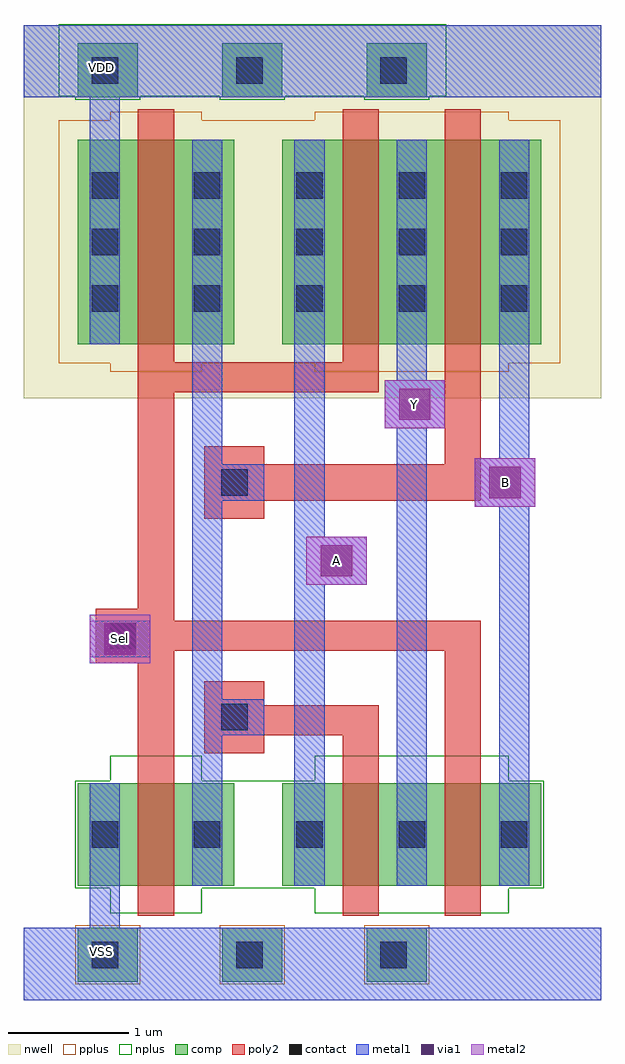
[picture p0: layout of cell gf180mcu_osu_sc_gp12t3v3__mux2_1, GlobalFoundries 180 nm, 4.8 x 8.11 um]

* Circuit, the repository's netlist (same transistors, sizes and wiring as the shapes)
* Copyright 2022 Google LLC
*
* Licensed under the Apache License, Version 2.0 (the "License");
* you may not use this file except in compliance with the License.
* You may obtain a copy of the License at
*
*      http://www.apache.org/licenses/LICENSE-2.0
*
* Unless required by applicable law or agreed to in writing, software
* distributed under the License is distributed on an "AS IS" BASIS,
* WITHOUT WARRANTIES OR CONDITIONS OF ANY KIND, either express or implied.
* See the License for the specific language governing permissions and
* limitations under the License.

.inc "/import/yukari1/lrburle/OSU_180/char/techfiles/design.hspice"
.lib "/import/yukari1/lrburle/OSU_180/char/techfiles/sm141064.hspice" typical

.GLOBAL VDD
.GLOBAL VSS

.option scale=0.05u

.subckt gf180mcu_osu_sc_gp12t3v3__mux2_1 Y Sel A B
X0 B a_25_19 Y VDD pmos_3p3 w=34 l=6
X1 Y Sel A VDD pmos_3p3 w=34 l=6
X2 a_25_19 Sel VDD VDD pmos_3p3 w=34 l=6
X3 Y a_25_19 A VSS nmos_3p3 w=17 l=6
X4 a_25_19 Sel VSS VSS nmos_3p3 w=17 l=6
X5 B Sel Y VSS nmos_3p3 w=17 l=6
.ends

** hspice subcircuit dictionary

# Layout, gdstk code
import gdstk
lib = gdstk.Library(unit=1e-6, precision=1e-09)
def R(c, l, rs):  # rectangles x0, y0, x1, y1
    for r in rs: c.add(gdstk.rectangle(r[:2], r[2:], *l))
def A(c, l, x, y, w, h, nx, ny, dx, dy):  # array of equal rectangles
    R(c, l, [(x+i*dx, y+j*dy, x+i*dx+w, y+j*dy+h) for i in range(nx) for j in range(ny)])
nwell = (21, 0)
comp = (22, 0)
poly2 = (30, 0)
pplus = (31, 0)
nplus = (32, 0)
contact = (33, 0)
metal1 = (34, 0)
via1 = (35, 0)
metal2 = (36, 0)

gf180mcu_osu_sc_gp12t3v3 = lib.new_cell('gf180mcu_osu_sc_gp12t3v3__mux2_1')
R(gf180mcu_osu_sc_gp12t3v3, nwell, [(0,5,4.8,8.1)])
A(gf180mcu_osu_sc_gp12t3v3, comp, 0.45, 0.15, 0.5, 0.45, 3, 2, 1.2, 7.35)
R(gf180mcu_osu_sc_gp12t3v3, comp, [(0.45,0.95,1.75,1.8), (2.15,0.95,4.3,1.8), (0.45,5.45,1.75,7.15), (2.15,5.45,4.3,7.15)])
R(gf180mcu_osu_sc_gp12t3v3, poly2, [(0.95,0.7,1.25,2.8), (2.65,0.7,2.95,2.2), (3.5,0.7,3.8,2.9), (1.5,2.05,2,2.2), (1.5,2.2,2.95,2.45), (1.5,2.45,2,2.65), (0.6,2.8,1.25,2.9), (0.6,2.9,3.8,3.15), (0.6,3.15,1.25,3.25), (0.95,3.25,1.25,5.05), (1.5,4,2,4.15), (1.5,4.15,3.8,4.45), (1.5,4.45,2,4.6), (3.5,4.45,3.8,7.4), (0.95,5.05,2.95,5.3), (0.95,5.3,1.25,7.4), (2.65,5.3,2.95,7.4)])
A(gf180mcu_osu_sc_gp12t3v3, pplus, 0.43, 0.13, 0.54, 0.49, 3, 1, 1.2, 0)
R(gf180mcu_osu_sc_gp12t3v3, pplus, [(0.72,5.22,1.48,5.29), (2.42,5.22,4.03,5.29), (0.29,5.29,4.46,7.31), (0.72,7.31,1.48,7.38), (2.42,7.31,4.03,7.38)])
A(gf180mcu_osu_sc_gp12t3v3, nplus, 0.43, 7.48, 0.54, 0.03, 3, 1, 1.2, 0)
R(gf180mcu_osu_sc_gp12t3v3, nplus, [(0.72,0.72,1.48,0.93), (2.42,0.72,4.03,0.93), (0.43,0.93,4.32,1.82), (0.72,1.82,1.48,2.03), (2.42,1.82,4.03,2.03), (0.29,7.51,3.51,8.11)])
A(gf180mcu_osu_sc_gp12t3v3, contact, 0.565, 0.265, 0.22, 0.22, 3, 2, 1.2, 7.35)
A(gf180mcu_osu_sc_gp12t3v3, contact, 0.565, 1.265, 0.22, 0.22, 5, 2, 0.85, 4.455)
A(gf180mcu_osu_sc_gp12t3v3, contact, 0.565, 6.19, 0.22, 0.22, 5, 2, 0.85, 0.47)
R(gf180mcu_osu_sc_gp12t3v3, contact, [(1.64,2.24,1.86,2.46), (0.715,2.915,0.935,3.135), (1.64,4.19,1.86,4.41)])
R(gf180mcu_osu_sc_gp12t3v3, metal1, [(0,0,4.8,0.6), (0.55,0.6,0.8,1.8), (1.4,0.95,1.65,2.2), (2.25,0.95,2.5,3.45), (3.1,0.95,3.35,4.75), (3.95,0.95,4.2,4.1), (1.4,2.2,2,2.5), (1.4,2.5,1.65,4.15), (0.55,2.85,1.05,3.15), (2.25,3.45,2.85,3.85), (2.25,3.85,2.5,7.15), (3.75,4.1,4.25,4.5), (1.4,4.15,2,4.45), (1.4,4.45,1.65,7.15), (3.95,4.5,4.2,7.15), (3,4.75,3.5,5.15), (3.1,5.15,3.35,7.15), (0.55,5.45,0.8,7.5), (0,7.5,4.8,8.1)])
R(gf180mcu_osu_sc_gp12t3v3, via1, [(0.67,2.87,0.93,3.13), (2.47,3.52,2.73,3.78), (3.87,4.17,4.13,4.43), (3.12,4.82,3.38,5.08)])
R(gf180mcu_osu_sc_gp12t3v3, metal2, [(0.55,2.8,1.05,3.2), (2.35,3.45,2.85,3.85), (3.75,4.1,4.25,4.5), (3,4.75,3.5,5.15)])
gf180mcu_osu_sc_gp12t3v3.add(gdstk.Label('VDD', (0.65,7.75), layer=34, texttype=0))
gf180mcu_osu_sc_gp12t3v3.add(gdstk.Label('VSS', (0.65,0.4), layer=34, texttype=0))
gf180mcu_osu_sc_gp12t3v3.add(gdstk.Label('Y', (3.25,4.95), layer=36, texttype=10))
gf180mcu_osu_sc_gp12t3v3.add(gdstk.Label('Sel', (0.8,3), layer=36, texttype=10))
gf180mcu_osu_sc_gp12t3v3.add(gdstk.Label('A', (2.6,3.65), layer=36, texttype=10))
gf180mcu_osu_sc_gp12t3v3.add(gdstk.Label('B', (4,4.3), layer=36, texttype=10))

lib.write_gds('gf180mcu_osu_sc_gp12t3v3__mux2_1.gds')
